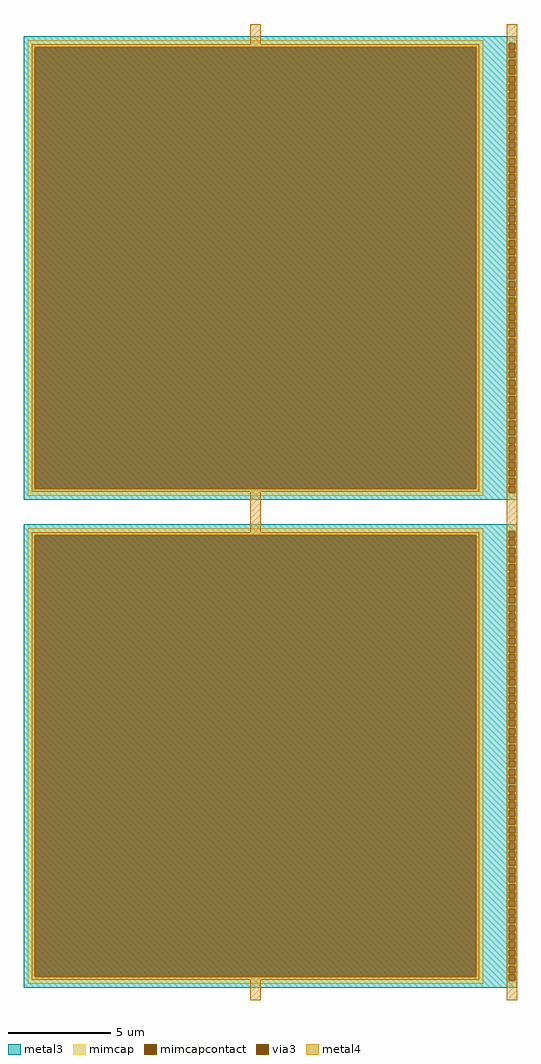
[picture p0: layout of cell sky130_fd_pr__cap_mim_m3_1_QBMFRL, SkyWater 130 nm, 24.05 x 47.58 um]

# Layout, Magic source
magic
tech sky130A
magscale 1 2
<< metal3 >>
rect -2405 4571 2405 4638
rect -2405 4507 2321 4571
rect 2385 4507 2405 4571
rect -2405 4491 2405 4507
rect -2405 4427 2321 4491
rect 2385 4427 2405 4491
rect -2405 4411 2405 4427
rect -2405 4347 2321 4411
rect 2385 4347 2405 4411
rect -2405 4331 2405 4347
rect -2405 4267 2321 4331
rect 2385 4267 2405 4331
rect -2405 4251 2405 4267
rect -2405 4187 2321 4251
rect 2385 4187 2405 4251
rect -2405 4171 2405 4187
rect -2405 4107 2321 4171
rect 2385 4107 2405 4171
rect -2405 4091 2405 4107
rect -2405 4027 2321 4091
rect 2385 4027 2405 4091
rect -2405 4011 2405 4027
rect -2405 3947 2321 4011
rect 2385 3947 2405 4011
rect -2405 3931 2405 3947
rect -2405 3867 2321 3931
rect 2385 3867 2405 3931
rect -2405 3851 2405 3867
rect -2405 3787 2321 3851
rect 2385 3787 2405 3851
rect -2405 3771 2405 3787
rect -2405 3707 2321 3771
rect 2385 3707 2405 3771
rect -2405 3691 2405 3707
rect -2405 3627 2321 3691
rect 2385 3627 2405 3691
rect -2405 3611 2405 3627
rect -2405 3547 2321 3611
rect 2385 3547 2405 3611
rect -2405 3531 2405 3547
rect -2405 3467 2321 3531
rect 2385 3467 2405 3531
rect -2405 3451 2405 3467
rect -2405 3387 2321 3451
rect 2385 3387 2405 3451
rect -2405 3371 2405 3387
rect -2405 3307 2321 3371
rect 2385 3307 2405 3371
rect -2405 3291 2405 3307
rect -2405 3227 2321 3291
rect 2385 3227 2405 3291
rect -2405 3211 2405 3227
rect -2405 3147 2321 3211
rect 2385 3147 2405 3211
rect -2405 3131 2405 3147
rect -2405 3067 2321 3131
rect 2385 3067 2405 3131
rect -2405 3051 2405 3067
rect -2405 2987 2321 3051
rect 2385 2987 2405 3051
rect -2405 2971 2405 2987
rect -2405 2907 2321 2971
rect 2385 2907 2405 2971
rect -2405 2891 2405 2907
rect -2405 2827 2321 2891
rect 2385 2827 2405 2891
rect -2405 2811 2405 2827
rect -2405 2747 2321 2811
rect 2385 2747 2405 2811
rect -2405 2731 2405 2747
rect -2405 2667 2321 2731
rect 2385 2667 2405 2731
rect -2405 2651 2405 2667
rect -2405 2587 2321 2651
rect 2385 2587 2405 2651
rect -2405 2571 2405 2587
rect -2405 2507 2321 2571
rect 2385 2507 2405 2571
rect -2405 2491 2405 2507
rect -2405 2427 2321 2491
rect 2385 2427 2405 2491
rect -2405 2411 2405 2427
rect -2405 2347 2321 2411
rect 2385 2347 2405 2411
rect -2405 2331 2405 2347
rect -2405 2267 2321 2331
rect 2385 2267 2405 2331
rect -2405 2251 2405 2267
rect -2405 2187 2321 2251
rect 2385 2187 2405 2251
rect -2405 2171 2405 2187
rect -2405 2107 2321 2171
rect 2385 2107 2405 2171
rect -2405 2091 2405 2107
rect -2405 2027 2321 2091
rect 2385 2027 2405 2091
rect -2405 2011 2405 2027
rect -2405 1947 2321 2011
rect 2385 1947 2405 2011
rect -2405 1931 2405 1947
rect -2405 1867 2321 1931
rect 2385 1867 2405 1931
rect -2405 1851 2405 1867
rect -2405 1787 2321 1851
rect 2385 1787 2405 1851
rect -2405 1771 2405 1787
rect -2405 1707 2321 1771
rect 2385 1707 2405 1771
rect -2405 1691 2405 1707
rect -2405 1627 2321 1691
rect 2385 1627 2405 1691
rect -2405 1611 2405 1627
rect -2405 1547 2321 1611
rect 2385 1547 2405 1611
rect -2405 1531 2405 1547
rect -2405 1467 2321 1531
rect 2385 1467 2405 1531
rect -2405 1451 2405 1467
rect -2405 1387 2321 1451
rect 2385 1387 2405 1451
rect -2405 1371 2405 1387
rect -2405 1307 2321 1371
rect 2385 1307 2405 1371
rect -2405 1291 2405 1307
rect -2405 1227 2321 1291
rect 2385 1227 2405 1291
rect -2405 1211 2405 1227
rect -2405 1147 2321 1211
rect 2385 1147 2405 1211
rect -2405 1131 2405 1147
rect -2405 1067 2321 1131
rect 2385 1067 2405 1131
rect -2405 1051 2405 1067
rect -2405 987 2321 1051
rect 2385 987 2405 1051
rect -2405 971 2405 987
rect -2405 907 2321 971
rect 2385 907 2405 971
rect -2405 891 2405 907
rect -2405 827 2321 891
rect 2385 827 2405 891
rect -2405 811 2405 827
rect -2405 747 2321 811
rect 2385 747 2405 811
rect -2405 731 2405 747
rect -2405 667 2321 731
rect 2385 667 2405 731
rect -2405 651 2405 667
rect -2405 587 2321 651
rect 2385 587 2405 651
rect -2405 571 2405 587
rect -2405 507 2321 571
rect 2385 507 2405 571
rect -2405 491 2405 507
rect -2405 427 2321 491
rect 2385 427 2405 491
rect -2405 411 2405 427
rect -2405 347 2321 411
rect 2385 347 2405 411
rect -2405 331 2405 347
rect -2405 267 2321 331
rect 2385 267 2405 331
rect -2405 251 2405 267
rect -2405 187 2321 251
rect 2385 187 2405 251
rect -2405 120 2405 187
rect -2405 -187 2405 -120
rect -2405 -251 2321 -187
rect 2385 -251 2405 -187
rect -2405 -267 2405 -251
rect -2405 -331 2321 -267
rect 2385 -331 2405 -267
rect -2405 -347 2405 -331
rect -2405 -411 2321 -347
rect 2385 -411 2405 -347
rect -2405 -427 2405 -411
rect -2405 -491 2321 -427
rect 2385 -491 2405 -427
rect -2405 -507 2405 -491
rect -2405 -571 2321 -507
rect 2385 -571 2405 -507
rect -2405 -587 2405 -571
rect -2405 -651 2321 -587
rect 2385 -651 2405 -587
rect -2405 -667 2405 -651
rect -2405 -731 2321 -667
rect 2385 -731 2405 -667
rect -2405 -747 2405 -731
rect -2405 -811 2321 -747
rect 2385 -811 2405 -747
rect -2405 -827 2405 -811
rect -2405 -891 2321 -827
rect 2385 -891 2405 -827
rect -2405 -907 2405 -891
rect -2405 -971 2321 -907
rect 2385 -971 2405 -907
rect -2405 -987 2405 -971
rect -2405 -1051 2321 -987
rect 2385 -1051 2405 -987
rect -2405 -1067 2405 -1051
rect -2405 -1131 2321 -1067
rect 2385 -1131 2405 -1067
rect -2405 -1147 2405 -1131
rect -2405 -1211 2321 -1147
rect 2385 -1211 2405 -1147
rect -2405 -1227 2405 -1211
rect -2405 -1291 2321 -1227
rect 2385 -1291 2405 -1227
rect -2405 -1307 2405 -1291
rect -2405 -1371 2321 -1307
rect 2385 -1371 2405 -1307
rect -2405 -1387 2405 -1371
rect -2405 -1451 2321 -1387
rect 2385 -1451 2405 -1387
rect -2405 -1467 2405 -1451
rect -2405 -1531 2321 -1467
rect 2385 -1531 2405 -1467
rect -2405 -1547 2405 -1531
rect -2405 -1611 2321 -1547
rect 2385 -1611 2405 -1547
rect -2405 -1627 2405 -1611
rect -2405 -1691 2321 -1627
rect 2385 -1691 2405 -1627
rect -2405 -1707 2405 -1691
rect -2405 -1771 2321 -1707
rect 2385 -1771 2405 -1707
rect -2405 -1787 2405 -1771
rect -2405 -1851 2321 -1787
rect 2385 -1851 2405 -1787
rect -2405 -1867 2405 -1851
rect -2405 -1931 2321 -1867
rect 2385 -1931 2405 -1867
rect -2405 -1947 2405 -1931
rect -2405 -2011 2321 -1947
rect 2385 -2011 2405 -1947
rect -2405 -2027 2405 -2011
rect -2405 -2091 2321 -2027
rect 2385 -2091 2405 -2027
rect -2405 -2107 2405 -2091
rect -2405 -2171 2321 -2107
rect 2385 -2171 2405 -2107
rect -2405 -2187 2405 -2171
rect -2405 -2251 2321 -2187
rect 2385 -2251 2405 -2187
rect -2405 -2267 2405 -2251
rect -2405 -2331 2321 -2267
rect 2385 -2331 2405 -2267
rect -2405 -2347 2405 -2331
rect -2405 -2411 2321 -2347
rect 2385 -2411 2405 -2347
rect -2405 -2427 2405 -2411
rect -2405 -2491 2321 -2427
rect 2385 -2491 2405 -2427
rect -2405 -2507 2405 -2491
rect -2405 -2571 2321 -2507
rect 2385 -2571 2405 -2507
rect -2405 -2587 2405 -2571
rect -2405 -2651 2321 -2587
rect 2385 -2651 2405 -2587
rect -2405 -2667 2405 -2651
rect -2405 -2731 2321 -2667
rect 2385 -2731 2405 -2667
rect -2405 -2747 2405 -2731
rect -2405 -2811 2321 -2747
rect 2385 -2811 2405 -2747
rect -2405 -2827 2405 -2811
rect -2405 -2891 2321 -2827
rect 2385 -2891 2405 -2827
rect -2405 -2907 2405 -2891
rect -2405 -2971 2321 -2907
rect 2385 -2971 2405 -2907
rect -2405 -2987 2405 -2971
rect -2405 -3051 2321 -2987
rect 2385 -3051 2405 -2987
rect -2405 -3067 2405 -3051
rect -2405 -3131 2321 -3067
rect 2385 -3131 2405 -3067
rect -2405 -3147 2405 -3131
rect -2405 -3211 2321 -3147
rect 2385 -3211 2405 -3147
rect -2405 -3227 2405 -3211
rect -2405 -3291 2321 -3227
rect 2385 -3291 2405 -3227
rect -2405 -3307 2405 -3291
rect -2405 -3371 2321 -3307
rect 2385 -3371 2405 -3307
rect -2405 -3387 2405 -3371
rect -2405 -3451 2321 -3387
rect 2385 -3451 2405 -3387
rect -2405 -3467 2405 -3451
rect -2405 -3531 2321 -3467
rect 2385 -3531 2405 -3467
rect -2405 -3547 2405 -3531
rect -2405 -3611 2321 -3547
rect 2385 -3611 2405 -3547
rect -2405 -3627 2405 -3611
rect -2405 -3691 2321 -3627
rect 2385 -3691 2405 -3627
rect -2405 -3707 2405 -3691
rect -2405 -3771 2321 -3707
rect 2385 -3771 2405 -3707
rect -2405 -3787 2405 -3771
rect -2405 -3851 2321 -3787
rect 2385 -3851 2405 -3787
rect -2405 -3867 2405 -3851
rect -2405 -3931 2321 -3867
rect 2385 -3931 2405 -3867
rect -2405 -3947 2405 -3931
rect -2405 -4011 2321 -3947
rect 2385 -4011 2405 -3947
rect -2405 -4027 2405 -4011
rect -2405 -4091 2321 -4027
rect 2385 -4091 2405 -4027
rect -2405 -4107 2405 -4091
rect -2405 -4171 2321 -4107
rect 2385 -4171 2405 -4107
rect -2405 -4187 2405 -4171
rect -2405 -4251 2321 -4187
rect 2385 -4251 2405 -4187
rect -2405 -4267 2405 -4251
rect -2405 -4331 2321 -4267
rect 2385 -4331 2405 -4267
rect -2405 -4347 2405 -4331
rect -2405 -4411 2321 -4347
rect 2385 -4411 2405 -4347
rect -2405 -4427 2405 -4411
rect -2405 -4491 2321 -4427
rect 2385 -4491 2405 -4427
rect -2405 -4507 2405 -4491
rect -2405 -4571 2321 -4507
rect 2385 -4571 2405 -4507
rect -2405 -4638 2405 -4571
<< via3 >>
rect 2321 4507 2385 4571
rect 2321 4427 2385 4491
rect 2321 4347 2385 4411
rect 2321 4267 2385 4331
rect 2321 4187 2385 4251
rect 2321 4107 2385 4171
rect 2321 4027 2385 4091
rect 2321 3947 2385 4011
rect 2321 3867 2385 3931
rect 2321 3787 2385 3851
rect 2321 3707 2385 3771
rect 2321 3627 2385 3691
rect 2321 3547 2385 3611
rect 2321 3467 2385 3531
rect 2321 3387 2385 3451
rect 2321 3307 2385 3371
rect 2321 3227 2385 3291
rect 2321 3147 2385 3211
rect 2321 3067 2385 3131
rect 2321 2987 2385 3051
rect 2321 2907 2385 2971
rect 2321 2827 2385 2891
rect 2321 2747 2385 2811
rect 2321 2667 2385 2731
rect 2321 2587 2385 2651
rect 2321 2507 2385 2571
rect 2321 2427 2385 2491
rect 2321 2347 2385 2411
rect 2321 2267 2385 2331
rect 2321 2187 2385 2251
rect 2321 2107 2385 2171
rect 2321 2027 2385 2091
rect 2321 1947 2385 2011
rect 2321 1867 2385 1931
rect 2321 1787 2385 1851
rect 2321 1707 2385 1771
rect 2321 1627 2385 1691
rect 2321 1547 2385 1611
rect 2321 1467 2385 1531
rect 2321 1387 2385 1451
rect 2321 1307 2385 1371
rect 2321 1227 2385 1291
rect 2321 1147 2385 1211
rect 2321 1067 2385 1131
rect 2321 987 2385 1051
rect 2321 907 2385 971
rect 2321 827 2385 891
rect 2321 747 2385 811
rect 2321 667 2385 731
rect 2321 587 2385 651
rect 2321 507 2385 571
rect 2321 427 2385 491
rect 2321 347 2385 411
rect 2321 267 2385 331
rect 2321 187 2385 251
rect 2321 -251 2385 -187
rect 2321 -331 2385 -267
rect 2321 -411 2385 -347
rect 2321 -491 2385 -427
rect 2321 -571 2385 -507
rect 2321 -651 2385 -587
rect 2321 -731 2385 -667
rect 2321 -811 2385 -747
rect 2321 -891 2385 -827
rect 2321 -971 2385 -907
rect 2321 -1051 2385 -987
rect 2321 -1131 2385 -1067
rect 2321 -1211 2385 -1147
rect 2321 -1291 2385 -1227
rect 2321 -1371 2385 -1307
rect 2321 -1451 2385 -1387
rect 2321 -1531 2385 -1467
rect 2321 -1611 2385 -1547
rect 2321 -1691 2385 -1627
rect 2321 -1771 2385 -1707
rect 2321 -1851 2385 -1787
rect 2321 -1931 2385 -1867
rect 2321 -2011 2385 -1947
rect 2321 -2091 2385 -2027
rect 2321 -2171 2385 -2107
rect 2321 -2251 2385 -2187
rect 2321 -2331 2385 -2267
rect 2321 -2411 2385 -2347
rect 2321 -2491 2385 -2427
rect 2321 -2571 2385 -2507
rect 2321 -2651 2385 -2587
rect 2321 -2731 2385 -2667
rect 2321 -2811 2385 -2747
rect 2321 -2891 2385 -2827
rect 2321 -2971 2385 -2907
rect 2321 -3051 2385 -2987
rect 2321 -3131 2385 -3067
rect 2321 -3211 2385 -3147
rect 2321 -3291 2385 -3227
rect 2321 -3371 2385 -3307
rect 2321 -3451 2385 -3387
rect 2321 -3531 2385 -3467
rect 2321 -3611 2385 -3547
rect 2321 -3691 2385 -3627
rect 2321 -3771 2385 -3707
rect 2321 -3851 2385 -3787
rect 2321 -3931 2385 -3867
rect 2321 -4011 2385 -3947
rect 2321 -4091 2385 -4027
rect 2321 -4171 2385 -4107
rect 2321 -4251 2385 -4187
rect 2321 -4331 2385 -4267
rect 2321 -4411 2385 -4347
rect 2321 -4491 2385 -4427
rect 2321 -4571 2385 -4507
<< mimcap >>
rect -2365 4531 2073 4598
rect -2365 227 -2298 4531
rect 2006 227 2073 4531
rect -2365 160 2073 227
rect -2365 -227 2073 -160
rect -2365 -4531 -2298 -227
rect 2006 -4531 2073 -227
rect -2365 -4598 2073 -4531
<< mimcapcontact >>
rect -2298 227 2006 4531
rect -2298 -4531 2006 -227
<< metal4 >>
rect -198 4559 -94 4758
rect 2301 4571 2405 4758
rect -2326 4531 2034 4559
rect -2326 227 -2298 4531
rect 2006 227 2034 4531
rect -2326 199 2034 227
rect 2301 4507 2321 4571
rect 2385 4507 2405 4571
rect 2301 4491 2405 4507
rect 2301 4427 2321 4491
rect 2385 4427 2405 4491
rect 2301 4411 2405 4427
rect 2301 4347 2321 4411
rect 2385 4347 2405 4411
rect 2301 4331 2405 4347
rect 2301 4267 2321 4331
rect 2385 4267 2405 4331
rect 2301 4251 2405 4267
rect 2301 4187 2321 4251
rect 2385 4187 2405 4251
rect 2301 4171 2405 4187
rect 2301 4107 2321 4171
rect 2385 4107 2405 4171
rect 2301 4091 2405 4107
rect 2301 4027 2321 4091
rect 2385 4027 2405 4091
rect 2301 4011 2405 4027
rect 2301 3947 2321 4011
rect 2385 3947 2405 4011
rect 2301 3931 2405 3947
rect 2301 3867 2321 3931
rect 2385 3867 2405 3931
rect 2301 3851 2405 3867
rect 2301 3787 2321 3851
rect 2385 3787 2405 3851
rect 2301 3771 2405 3787
rect 2301 3707 2321 3771
rect 2385 3707 2405 3771
rect 2301 3691 2405 3707
rect 2301 3627 2321 3691
rect 2385 3627 2405 3691
rect 2301 3611 2405 3627
rect 2301 3547 2321 3611
rect 2385 3547 2405 3611
rect 2301 3531 2405 3547
rect 2301 3467 2321 3531
rect 2385 3467 2405 3531
rect 2301 3451 2405 3467
rect 2301 3387 2321 3451
rect 2385 3387 2405 3451
rect 2301 3371 2405 3387
rect 2301 3307 2321 3371
rect 2385 3307 2405 3371
rect 2301 3291 2405 3307
rect 2301 3227 2321 3291
rect 2385 3227 2405 3291
rect 2301 3211 2405 3227
rect 2301 3147 2321 3211
rect 2385 3147 2405 3211
rect 2301 3131 2405 3147
rect 2301 3067 2321 3131
rect 2385 3067 2405 3131
rect 2301 3051 2405 3067
rect 2301 2987 2321 3051
rect 2385 2987 2405 3051
rect 2301 2971 2405 2987
rect 2301 2907 2321 2971
rect 2385 2907 2405 2971
rect 2301 2891 2405 2907
rect 2301 2827 2321 2891
rect 2385 2827 2405 2891
rect 2301 2811 2405 2827
rect 2301 2747 2321 2811
rect 2385 2747 2405 2811
rect 2301 2731 2405 2747
rect 2301 2667 2321 2731
rect 2385 2667 2405 2731
rect 2301 2651 2405 2667
rect 2301 2587 2321 2651
rect 2385 2587 2405 2651
rect 2301 2571 2405 2587
rect 2301 2507 2321 2571
rect 2385 2507 2405 2571
rect 2301 2491 2405 2507
rect 2301 2427 2321 2491
rect 2385 2427 2405 2491
rect 2301 2411 2405 2427
rect 2301 2347 2321 2411
rect 2385 2347 2405 2411
rect 2301 2331 2405 2347
rect 2301 2267 2321 2331
rect 2385 2267 2405 2331
rect 2301 2251 2405 2267
rect 2301 2187 2321 2251
rect 2385 2187 2405 2251
rect 2301 2171 2405 2187
rect 2301 2107 2321 2171
rect 2385 2107 2405 2171
rect 2301 2091 2405 2107
rect 2301 2027 2321 2091
rect 2385 2027 2405 2091
rect 2301 2011 2405 2027
rect 2301 1947 2321 2011
rect 2385 1947 2405 2011
rect 2301 1931 2405 1947
rect 2301 1867 2321 1931
rect 2385 1867 2405 1931
rect 2301 1851 2405 1867
rect 2301 1787 2321 1851
rect 2385 1787 2405 1851
rect 2301 1771 2405 1787
rect 2301 1707 2321 1771
rect 2385 1707 2405 1771
rect 2301 1691 2405 1707
rect 2301 1627 2321 1691
rect 2385 1627 2405 1691
rect 2301 1611 2405 1627
rect 2301 1547 2321 1611
rect 2385 1547 2405 1611
rect 2301 1531 2405 1547
rect 2301 1467 2321 1531
rect 2385 1467 2405 1531
rect 2301 1451 2405 1467
rect 2301 1387 2321 1451
rect 2385 1387 2405 1451
rect 2301 1371 2405 1387
rect 2301 1307 2321 1371
rect 2385 1307 2405 1371
rect 2301 1291 2405 1307
rect 2301 1227 2321 1291
rect 2385 1227 2405 1291
rect 2301 1211 2405 1227
rect 2301 1147 2321 1211
rect 2385 1147 2405 1211
rect 2301 1131 2405 1147
rect 2301 1067 2321 1131
rect 2385 1067 2405 1131
rect 2301 1051 2405 1067
rect 2301 987 2321 1051
rect 2385 987 2405 1051
rect 2301 971 2405 987
rect 2301 907 2321 971
rect 2385 907 2405 971
rect 2301 891 2405 907
rect 2301 827 2321 891
rect 2385 827 2405 891
rect 2301 811 2405 827
rect 2301 747 2321 811
rect 2385 747 2405 811
rect 2301 731 2405 747
rect 2301 667 2321 731
rect 2385 667 2405 731
rect 2301 651 2405 667
rect 2301 587 2321 651
rect 2385 587 2405 651
rect 2301 571 2405 587
rect 2301 507 2321 571
rect 2385 507 2405 571
rect 2301 491 2405 507
rect 2301 427 2321 491
rect 2385 427 2405 491
rect 2301 411 2405 427
rect 2301 347 2321 411
rect 2385 347 2405 411
rect 2301 331 2405 347
rect 2301 267 2321 331
rect 2385 267 2405 331
rect 2301 251 2405 267
rect -198 -199 -94 199
rect 2301 187 2321 251
rect 2385 187 2405 251
rect 2301 -187 2405 187
rect -2326 -227 2034 -199
rect -2326 -4531 -2298 -227
rect 2006 -4531 2034 -227
rect -2326 -4559 2034 -4531
rect 2301 -251 2321 -187
rect 2385 -251 2405 -187
rect 2301 -267 2405 -251
rect 2301 -331 2321 -267
rect 2385 -331 2405 -267
rect 2301 -347 2405 -331
rect 2301 -411 2321 -347
rect 2385 -411 2405 -347
rect 2301 -427 2405 -411
rect 2301 -491 2321 -427
rect 2385 -491 2405 -427
rect 2301 -507 2405 -491
rect 2301 -571 2321 -507
rect 2385 -571 2405 -507
rect 2301 -587 2405 -571
rect 2301 -651 2321 -587
rect 2385 -651 2405 -587
rect 2301 -667 2405 -651
rect 2301 -731 2321 -667
rect 2385 -731 2405 -667
rect 2301 -747 2405 -731
rect 2301 -811 2321 -747
rect 2385 -811 2405 -747
rect 2301 -827 2405 -811
rect 2301 -891 2321 -827
rect 2385 -891 2405 -827
rect 2301 -907 2405 -891
rect 2301 -971 2321 -907
rect 2385 -971 2405 -907
rect 2301 -987 2405 -971
rect 2301 -1051 2321 -987
rect 2385 -1051 2405 -987
rect 2301 -1067 2405 -1051
rect 2301 -1131 2321 -1067
rect 2385 -1131 2405 -1067
rect 2301 -1147 2405 -1131
rect 2301 -1211 2321 -1147
rect 2385 -1211 2405 -1147
rect 2301 -1227 2405 -1211
rect 2301 -1291 2321 -1227
rect 2385 -1291 2405 -1227
rect 2301 -1307 2405 -1291
rect 2301 -1371 2321 -1307
rect 2385 -1371 2405 -1307
rect 2301 -1387 2405 -1371
rect 2301 -1451 2321 -1387
rect 2385 -1451 2405 -1387
rect 2301 -1467 2405 -1451
rect 2301 -1531 2321 -1467
rect 2385 -1531 2405 -1467
rect 2301 -1547 2405 -1531
rect 2301 -1611 2321 -1547
rect 2385 -1611 2405 -1547
rect 2301 -1627 2405 -1611
rect 2301 -1691 2321 -1627
rect 2385 -1691 2405 -1627
rect 2301 -1707 2405 -1691
rect 2301 -1771 2321 -1707
rect 2385 -1771 2405 -1707
rect 2301 -1787 2405 -1771
rect 2301 -1851 2321 -1787
rect 2385 -1851 2405 -1787
rect 2301 -1867 2405 -1851
rect 2301 -1931 2321 -1867
rect 2385 -1931 2405 -1867
rect 2301 -1947 2405 -1931
rect 2301 -2011 2321 -1947
rect 2385 -2011 2405 -1947
rect 2301 -2027 2405 -2011
rect 2301 -2091 2321 -2027
rect 2385 -2091 2405 -2027
rect 2301 -2107 2405 -2091
rect 2301 -2171 2321 -2107
rect 2385 -2171 2405 -2107
rect 2301 -2187 2405 -2171
rect 2301 -2251 2321 -2187
rect 2385 -2251 2405 -2187
rect 2301 -2267 2405 -2251
rect 2301 -2331 2321 -2267
rect 2385 -2331 2405 -2267
rect 2301 -2347 2405 -2331
rect 2301 -2411 2321 -2347
rect 2385 -2411 2405 -2347
rect 2301 -2427 2405 -2411
rect 2301 -2491 2321 -2427
rect 2385 -2491 2405 -2427
rect 2301 -2507 2405 -2491
rect 2301 -2571 2321 -2507
rect 2385 -2571 2405 -2507
rect 2301 -2587 2405 -2571
rect 2301 -2651 2321 -2587
rect 2385 -2651 2405 -2587
rect 2301 -2667 2405 -2651
rect 2301 -2731 2321 -2667
rect 2385 -2731 2405 -2667
rect 2301 -2747 2405 -2731
rect 2301 -2811 2321 -2747
rect 2385 -2811 2405 -2747
rect 2301 -2827 2405 -2811
rect 2301 -2891 2321 -2827
rect 2385 -2891 2405 -2827
rect 2301 -2907 2405 -2891
rect 2301 -2971 2321 -2907
rect 2385 -2971 2405 -2907
rect 2301 -2987 2405 -2971
rect 2301 -3051 2321 -2987
rect 2385 -3051 2405 -2987
rect 2301 -3067 2405 -3051
rect 2301 -3131 2321 -3067
rect 2385 -3131 2405 -3067
rect 2301 -3147 2405 -3131
rect 2301 -3211 2321 -3147
rect 2385 -3211 2405 -3147
rect 2301 -3227 2405 -3211
rect 2301 -3291 2321 -3227
rect 2385 -3291 2405 -3227
rect 2301 -3307 2405 -3291
rect 2301 -3371 2321 -3307
rect 2385 -3371 2405 -3307
rect 2301 -3387 2405 -3371
rect 2301 -3451 2321 -3387
rect 2385 -3451 2405 -3387
rect 2301 -3467 2405 -3451
rect 2301 -3531 2321 -3467
rect 2385 -3531 2405 -3467
rect 2301 -3547 2405 -3531
rect 2301 -3611 2321 -3547
rect 2385 -3611 2405 -3547
rect 2301 -3627 2405 -3611
rect 2301 -3691 2321 -3627
rect 2385 -3691 2405 -3627
rect 2301 -3707 2405 -3691
rect 2301 -3771 2321 -3707
rect 2385 -3771 2405 -3707
rect 2301 -3787 2405 -3771
rect 2301 -3851 2321 -3787
rect 2385 -3851 2405 -3787
rect 2301 -3867 2405 -3851
rect 2301 -3931 2321 -3867
rect 2385 -3931 2405 -3867
rect 2301 -3947 2405 -3931
rect 2301 -4011 2321 -3947
rect 2385 -4011 2405 -3947
rect 2301 -4027 2405 -4011
rect 2301 -4091 2321 -4027
rect 2385 -4091 2405 -4027
rect 2301 -4107 2405 -4091
rect 2301 -4171 2321 -4107
rect 2385 -4171 2405 -4107
rect 2301 -4187 2405 -4171
rect 2301 -4251 2321 -4187
rect 2385 -4251 2405 -4187
rect 2301 -4267 2405 -4251
rect 2301 -4331 2321 -4267
rect 2385 -4331 2405 -4267
rect 2301 -4347 2405 -4331
rect 2301 -4411 2321 -4347
rect 2385 -4411 2405 -4347
rect 2301 -4427 2405 -4411
rect 2301 -4491 2321 -4427
rect 2385 -4491 2405 -4427
rect 2301 -4507 2405 -4491
rect -198 -4758 -94 -4559
rect 2301 -4571 2321 -4507
rect 2385 -4571 2405 -4507
rect 2301 -4758 2405 -4571
<< properties >>
string FIXED_BBOX -2405 120 2113 4638
<< end >>
